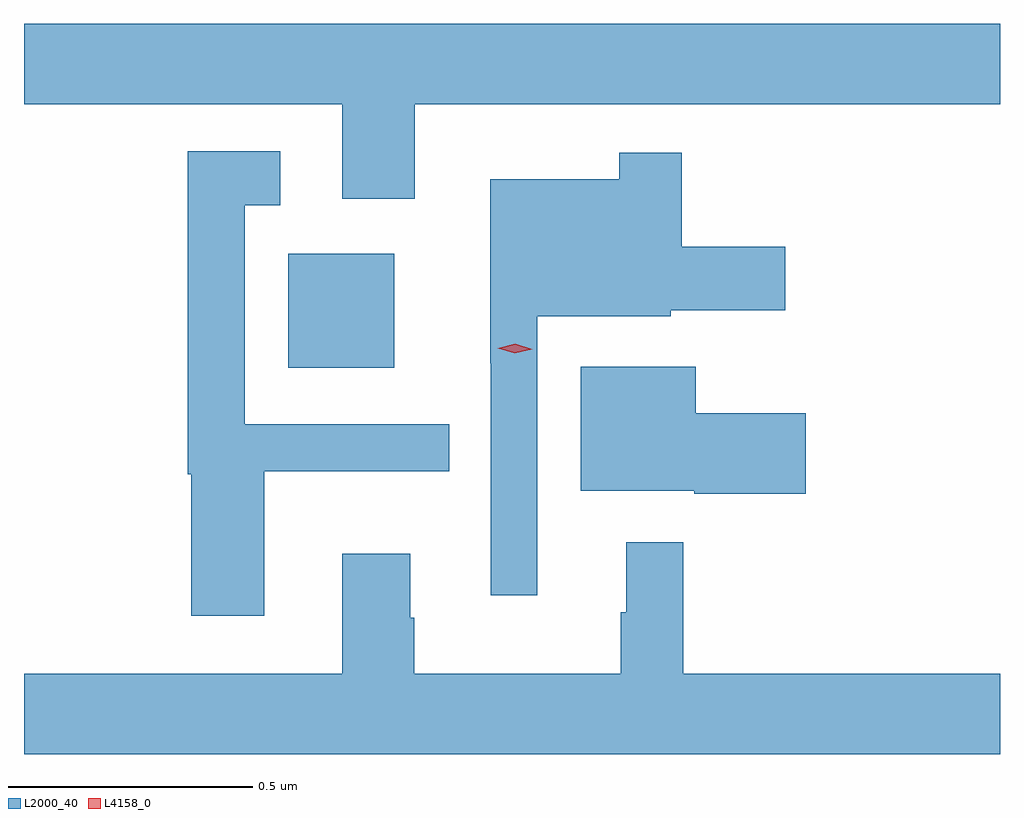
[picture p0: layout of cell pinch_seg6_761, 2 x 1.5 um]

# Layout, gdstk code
import gdstk
lib = gdstk.Library(unit=1e-6, precision=1e-09)
def R(c, l, rs):  # rectangles x0, y0, x1, y1
    for r in rs: c.add(gdstk.rectangle(r[:2], r[2:], *l))
def P(c, l, *ps):  # polygons
    for p in ps: c.add(gdstk.Polygon(p, *l))
L2000_40 = (2000, 40)
L4158_0 = (4158, 0)

pinch_seg6_761 = lib.new_cell('pinch_seg6_761')
R(pinch_seg6_761, L2000_40, [(506.978,940.136,507.196,940.369)])
P(pinch_seg6_761, L2000_40, [(507.238,940.676),(508.437,940.676),(508.437,940.84),(506.437,940.84),(506.437,940.676),(507.089,940.676),(507.089,940.482),(507.238,940.482)],
  [(506.929,939.923),(507.308,939.923),(507.308,940.02),(506.889,940.02),(506.889,940.469),(506.962,940.469),(506.962,940.579),(506.773,940.579),(506.773,939.917),(506.78,939.917),(506.78,939.627),(506.929,939.627)],
  [(507.489,940.241),(507.762,940.241),(507.762,940.253),(507.997,940.253),(507.997,940.383),(507.785,940.383),(507.785,940.576),(507.657,940.576),(507.657,940.522),(507.392,940.522),(507.392,940.145),(507.393,940.145),(507.393,939.669),(507.489,939.669)],
  [(508.039,940.042),(507.814,940.042),(507.814,940.138),(507.578,940.138),(507.578,939.884),(507.81,939.884),(507.81,939.877),(508.039,939.877)],
  [(508.437,939.508),(507.788,939.508),(507.788,939.778),(507.671,939.778),(507.671,939.635),(507.66,939.635),(507.66,939.508),(507.237,939.508),(507.237,939.623),(507.229,939.623),(507.229,939.754),(507.089,939.754),(507.089,939.508),(506.437,939.508),(506.437,939.344),(508.437,939.344)])
P(pinch_seg6_761, L4158_0, [(507.443,940.165),(507.408,940.176),(507.408,940.176),(507.408,940.176),(507.444,940.185),(507.479,940.173),(507.479,940.173),(507.479,940.173)])

lib.write_gds('pinch_seg6_761.gds')
